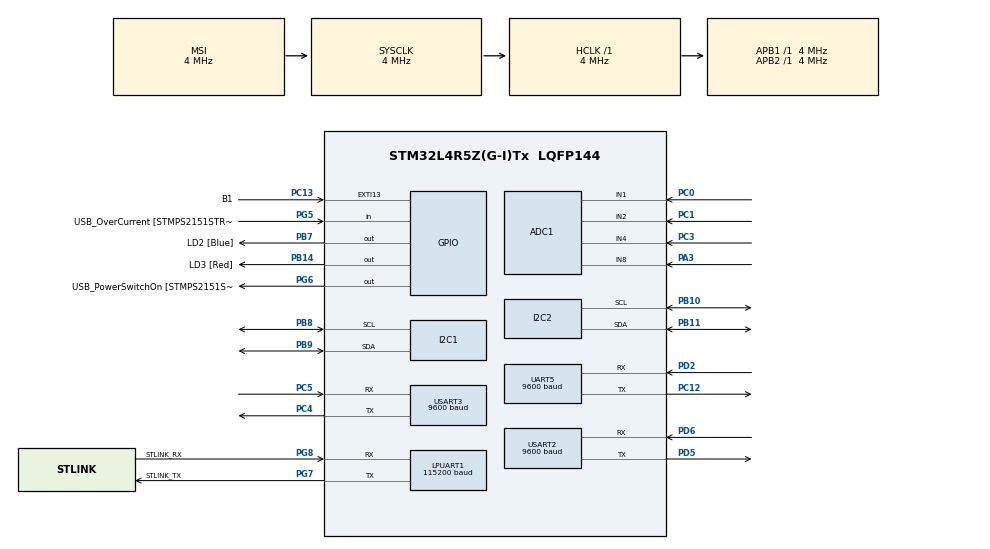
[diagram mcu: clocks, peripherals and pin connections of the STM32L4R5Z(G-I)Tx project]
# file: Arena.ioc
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ADC1.Channel-0\#ChannelRegularConversion=ADC_CHANNEL_1
ADC1.Channel-1\#ChannelRegularConversion=ADC_CHANNEL_8
ADC1.Channel-2\#ChannelRegularConversion=ADC_CHANNEL_2
ADC1.Channel-3\#ChannelRegularConversion=ADC_CHANNEL_4
ADC1.ClockPrescaler=ADC_CLOCK_ASYNC_DIV32
ADC1.ContinuousConvMode=DISABLE
ADC1.NbrOfConversion=4
ADC1.NbrOfConversionFlag=1
ADC1.OffsetNumber-0\#ChannelRegularConversion=ADC_OFFSET_NONE
ADC1.OffsetNumber-1\#ChannelRegularConversion=ADC_OFFSET_NONE
ADC1.OffsetNumber-2\#ChannelRegularConversion=ADC_OFFSET_NONE
ADC1.OffsetNumber-3\#ChannelRegularConversion=ADC_OFFSET_NONE
ADC1.Rank-0\#ChannelRegularConversion=1
ADC1.Rank-1\#ChannelRegularConversion=2
ADC1.Rank-2\#ChannelRegularConversion=3
ADC1.Rank-3\#ChannelRegularConversion=4
ADC1.SamplingTime-0\#ChannelRegularConversion=ADC_SAMPLETIME_640CYCLES_5
ADC1.SamplingTime-1\#ChannelRegularConversion=ADC_SAMPLETIME_640CYCLES_5
ADC1.SamplingTime-2\#ChannelRegularConversion=ADC_SAMPLETIME_640CYCLES_5
ADC1.SamplingTime-3\#ChannelRegularConversion=ADC_SAMPLETIME_640CYCLES_5
ADC1.master=1
I2C1.Timing=0x00100D14
I2C2.Timing=0x00100D14
LPUART1.BaudRate=115200
LPUART1.WordLength=UART_WORDLENGTH_8B
Mcu.Family=STM32L4
Mcu.Name=STM32L4R5Z(G-I)Tx
Mcu.Package=LQFP144
NVIC.PriorityGroup=NVIC_PRIORITYGROUP_4
PA10.GPIO_Label=USB_ID
PA10.Signal=USB_OTG_FS_ID
PA11.GPIO_Label=USB_DM
PA11.Signal=USB_OTG_FS_DM
PA12.GPIO_Label=USB_DP
PA12.Signal=USB_OTG_FS_DP
PA13\ (JTMS/SWDIO).GPIO_Label=TMS
PA13\ (JTMS/SWDIO).Mode=Trace_Asynchronous_SW
PA13\ (JTMS/SWDIO).Signal=SYS_JTMS-SWDIO
PA14\ (JTCK/SWCLK).GPIO_Label=TCK
PA14\ (JTCK/SWCLK).Mode=Trace_Asynchronous_SW
PA14\ (JTCK/SWCLK).Signal=SYS_JTCK-SWCLK
PA3.Signal=ADCx_IN8
PA8.GPIO_Label=USB_SOF [TP1]
PA8.Signal=USB_OTG_FS_SOF
PA9.GPIO_Label=USB_VBUS
PA9.Signal=USB_OTG_FS_VBUS
PB10.Mode=I2C
PB10.Signal=I2C2_SCL
PB11.Mode=I2C
PB11.Signal=I2C2_SDA
PB14.GPIO_Label=LD3 [Red]
PB14.Signal=GPIO_Output
PB3\ (JTDO/TRACESWO).GPIO_Label=SWO
PB3\ (JTDO/TRACESWO).Mode=Trace_Asynchronous_SW
PB3\ (JTDO/TRACESWO).Signal=SYS_JTDO-SWO
PB7.GPIO_Label=LD2 [Blue]
PB7.Signal=GPIO_Output
PB8.Mode=I2C
PB8.Signal=I2C1_SCL
PB9.Mode=I2C
PB9.Signal=I2C1_SDA
PC0.Signal=ADCx_IN1
PC1.Signal=ADCx_IN2
PC12.Mode=Asynchronous
PC12.Signal=UART5_TX
PC13.GPIO_Label=B1
PC13.Signal=GPXTI13
PC14-OSC32_IN\ (PC14).Mode=LSE-External-Oscillator
PC14-OSC32_IN\ (PC14).Signal=RCC_OSC32_IN
PC15-OSC32_OUT\ (PC15).Mode=LSE-External-Oscillator
PC15-OSC32_OUT\ (PC15).Signal=RCC_OSC32_OUT
PC3.Signal=ADCx_IN4
PC4.Mode=Asynchronous
PC4.Signal=USART3_TX
PC5.Mode=Asynchronous
PC5.Signal=USART3_RX
PD2.Mode=Asynchronous
PD2.Signal=UART5_RX
PD5.Mode=Asynchronous
PD5.Signal=USART2_TX
PD6.Mode=Asynchronous
PD6.Signal=USART2_RX
PG5.GPIO_Label=USB_OverCurrent [STMPS2151STR_FAULT]
PG5.Signal=GPIO_Input
PG6.GPIO_Label=USB_PowerSwitchOn [STMPS2151STR_En]
PG6.Signal=GPIO_Output
PG7.GPIO_Label=STLINK_TX
PG7.Mode=Asynchronous
PG7.Signal=LPUART1_TX
PG8.GPIO_Label=STLINK_RX
PG8.Mode=Asynchronous
PG8.Signal=LPUART1_RX
PH0-OSC_IN\ (PH0).Mode=HSE-External-Clock-Source
PH0-OSC_IN\ (PH0).Signal=RCC_OSC_IN
PH1-OSC_OUT\ (PH1).Signal=RCC_OSC_OUT
ProjectManager.HeapSize=0x200
ProjectManager.StackSize=0x400
ProjectManager.TargetToolchain=STM32CubeIDE
RCC.48MHZClocksFreq_Value=24000000
RCC.ADCFreq_Value=32000000
RCC.AHBFreq_Value=4000000
RCC.APB1Freq_Value=4000000
RCC.APB1TimFreq_Value=4000000
RCC.APB2Freq_Value=4000000
RCC.APB2TimFreq_Value=4000000
RCC.CortexFreq_Value=4000000
RCC.HCLKFreq_Value=4000000
RCC.HSE_VALUE=8000000
RCC.HSI48_VALUE=48000000
RCC.HSI_VALUE=16000000
RCC.MSI_VALUE=4000000
RCC.PLLMUL=RCC_PLL_MUL9
RCC.PLLSAI1N=16
RCC.PRESCALERUSB=RCC_USBCLKSOURCE_PLL_DIV1_5
RCC.SYSCLKFreq_VALUE=4000000
RCC.SYSCLKSourceVirtual=RCC_SYSCLKSOURCE_PLLCLK
RCC.USBFreq_Value=32000000
RCC.VCOOutputFreq_Value=32000000
SH.ADCx_IN1.0=ADC1_IN1,IN1-Single-Ended
SH.ADCx_IN2.0=ADC1_IN2,IN2-Single-Ended
SH.ADCx_IN4.0=ADC1_IN4,IN4-Single-Ended
SH.ADCx_IN8.0=ADC1_IN8,IN8-Single-Ended
UART5.BaudRate=9600
USART2.BaudRate=9600
USART2.VirtualMode-Asynchronous=VM_ASYNC
USART3.BaudRate=9600
USART3.VirtualMode-Asynchronous=VM_ASYNC
board=NUCLEO-L4R5ZI

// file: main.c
/* USER CODE BEGIN Header */
/**
  ******************************************************************************
  * @file           : main.c
  * @brief          : Main program body
  ******************************************************************************
  * @attention
  *
  * Copyright (c) 2025 STMicroelectronics.
  * All rights reserved.
  *
  * This software is licensed under terms that can be found in the LICENSE file
  * in the root directory of this software component.
  * If no LICENSE file comes with this software, it is provided AS-IS.
  *
  ******************************************************************************
  */
/* USER CODE END Header */
#include "main.h"

/* USER CODE BEGIN Includes */
#include <stdio.h>
#include <string.h>
/* USER CODE END Includes */

/* USER CODE BEGIN PD */
//#define DEBUG
// IMU Registers
#define SAD_M_R 0x3D
#define SAD_M_W 0x3C
#define SAD_A_R 0x32
#define SAD_A_W 0x33
// Flex ADC
#define ADC_MAX_VALUE 4095

// linear scaling test
#define RAW_MIN 80
#define RAW_MAX 100
#define SCALE_MIN 1
#define SCALE_MAX 100
/* USER CODE END PD */

ADC_HandleTypeDef hadc1;

I2C_HandleTypeDef hi2c1;
I2C_HandleTypeDef hi2c2;

UART_HandleTypeDef hlpuart1;
UART_HandleTypeDef huart5;
UART_HandleTypeDef huart2;
UART_HandleTypeDef huart3;

/* USER CODE BEGIN PV */
HAL_StatusTypeDef ret;
// IMU Vars
int bDir;
int16_t bRx, bRy, bRz;
int yDir;
int16_t yRx, yRy, yRz;
// Flex Vars
uint32_t bFlexRaw1, bFlexRaw2;
uint32_t yFlexRaw1, yFlexRaw2;
int bMag, bBoost;
uint32_t yFlexRaw;
int yMag, yBoost;
// Pixycam variables
uint8_t Pixy_receive;
//boost sensor variables
/* USER CODE END PV */

void SystemClock_Config(void);
static void MX_GPIO_Init(void);
static void MX_LPUART1_UART_Init(void);
static void MX_I2C1_Init(void);
static void MX_I2C2_Init(void);
static void MX_ADC1_Init(void);
static void MX_USART2_UART_Init(void);
static void MX_USART3_UART_Init(void);
static void MX_UART5_Init(void);

/* USER CODE BEGIN 0 */
void IMU_Init(void)
{
  uint8_t initData[10] = {0x0A};
  initData[0] = 0x20;
  initData[1] = 0x97;

  // BLUE
  ret = HAL_I2C_Master_Transmit(&hi2c1, SAD_A_W, &initData[0], 2, 1000);
  // YELLOW
  ret = HAL_I2C_Master_Transmit(&hi2c2, SAD_A_W, &initData[0], 2, 1000);
}

int IMU_Direction(int16_t x)
{
  if (x > 5000)
  {
	return 0; // left
  } else if (x < -5000)
  {
	return 1; // right
  } else
  {
	return 2; // straight
  }
}

void IMU_Read(void)
{
  // BLUE
  uint8_t bData[10] = {0x0A};
  bData[0] = 0xA8;
  ret = HAL_I2C_Master_Transmit(&hi2c1, SAD_A_W, &bData[0], 1, 1000);
  ret = HAL_I2C_Master_Receive(&hi2c1, SAD_A_R, &bData[0], 6, 1000);

  bRx = ((int16_t)(bData[1] << 8) + (int16_t)bData[0]);
  bRy = ((int16_t)(bData[3] << 8) + (int16_t)bData[2]);
  bRz = ((int16_t)(bData[5] << 8) + (int16_t)bData[4]);

  bDir = IMU_Direction(bRx);

  printf("x raw value: %d\n", bRx);
  printf("Direction: %d\n", bDir);

  // YELLOW
  uint8_t yData[10] = {0x0A};
  yData[0] = 0xA8;
  ret = HAL_I2C_Master_Transmit(&hi2c2, SAD_A_W, &yData[0], 1, 1000);
  ret = HAL_I2C_Master_Receive(&hi2c2, SAD_A_R, &yData[0], 6, 1000);

  yRx = ((int16_t)(yData[1] << 8) + (int16_t)yData[0]);
  yRy = ((int16_t)(yData[3] << 8) + (int16_t)yData[2]);
  yRz = ((int16_t)(yData[5] << 8) + (int16_t)yData[4]);

  yDir = IMU_Direction(yRx);

//  #ifdef DEBUG
 // printf("DEBUG: B D=%d X=%d  Y D=%d X=%d\r\n", bDir, bRx, yDir, yRx);
//  #endif
}

int Flex_Magnitude(uint32_t x)
{
	// fancy logic to get flex magnitude
	return 0;
}

void Flex_Read(void)
{

  // BLUE SPEED FLEX SENSOR
  HAL_ADC_Start(&hadc1);
  bFlexRaw1 = HAL_ADC_GetValue(&hadc1);
  bFlexRaw1 = ((bFlexRaw1 * 100) / ADC_MAX_VALUE);
  bMag = bFlexRaw1;
  printf("Blue speed: %d\n", bMag);
  HAL_Delay(50);

  // BLUE BOOST FLEX SENSOR
  HAL_ADC_Start(&hadc1);
  bFlexRaw2 = HAL_ADC_GetValue(&hadc1);
  bFlexRaw2 = ((bFlexRaw2 * 100) / ADC_MAX_VALUE);
  bBoost = bFlexRaw2;
  printf("Blue boost: %d\n", bBoost);
  HAL_Delay(50);

  // YELLOW SPEED FLEX SENSOR
  HAL_ADC_Start(&hadc1);
  yFlexRaw1 = HAL_ADC_GetValue(&hadc1);
  yFlexRaw1 = ((yFlexRaw1 * 100) / ADC_MAX_VALUE);
  yMag = yFlexRaw1;
  printf("Yellow speed: %d\n", yMag);
  HAL_Delay(50);

  // YELLOW BOOST FLEX SENSOR
  HAL_ADC_Start(&hadc1);
  yFlexRaw2 = HAL_ADC_GetValue(&hadc1);
  yFlexRaw2 = ((bFlexRaw2 * 100) / ADC_MAX_VALUE);
  yMag = bFlexRaw2;
  printf("Yellow boost: %d\n", yBoost);
  HAL_Delay(50);

  // TEST WITH SCALING
  if (bFlexRaw1 < RAW_MIN) bFlexRaw1 = RAW_MIN;
  if (bFlexRaw1 > RAW_MAX) bFlexRaw1 = RAW_MAX;

  bFlexRaw1 = ((bFlexRaw1 - RAW_MIN) * (SCALE_MAX - SCALE_MIN)) / (RAW_MAX - RAW_MIN) + SCALE_MIN;

  // TODO CALIBRATE FOR THIS SETUP

  //printf("Blue speed: %d\n", bMag);

//  #ifdef DEBUG
//  #endif
}

/*void readAverage(void){
	double sumB = 0;
	for(int i = 0; i < 5; i++){
		sumB += Flex_Read();
	}
	sumB /= 5;
	int truncate = (int)sumB;
	truncate -= 42;
	bMag = truncate;
	printf("DEBUG B F=%d Y F=%d\r\n", truncate, yFlexRaw);
}*/
void Pixy_read(void){
	if (HAL_UART_Receive(&huart5, &Pixy_receive, 1, 500) == HAL_OK){
		uint8_t value = Pixy_receive & 0x03;
			if (value == 1){
				bDir = 3;
			}
			else if (value == 2){
				yDir = 3;
			}
	}
}
void boostSensor(void){
	if (bBoost == 1){
		bMag += 10;
	}
	if (yBoost == 1){
		yMag += 10;
	}
}
/* USER CODE END 0 */

int main(void)
{

  /* MCU Configuration--------------------------------------------------------*/

  /* Reset of all peripherals, Initializes the Flash interface and the Systick. */
  HAL_Init();

  /* Configure the system clock */
  SystemClock_Config();

  /* Initialize all configured peripherals */
  MX_GPIO_Init();
  MX_LPUART1_UART_Init();
  MX_I2C1_Init();
  MX_I2C2_Init();
  MX_ADC1_Init();
  MX_USART2_UART_Init();
  MX_USART3_UART_Init();
  MX_UART5_Init();
  /* USER CODE BEGIN 2 */
  IMU_Init();
  // HAL_ADC_Start(&hadc1);

  /* USER CODE END 2 */

  /* Infinite loop */
  /* USER CODE BEGIN WHILE */
  while (1)
  {
	  IMU_Read();
	  //readAverage();
	  Flex_Read();
	  Pixy_read();

	char txBuf[20];
	 //bDir = 3;
	 //bMag = 25;
	 //bKick = 0;

	 //printf("DEBUG B F=%d Y F=%d\r\n", bFlexRaw, yFlexRaw);

	sprintf(txBuf, "%d,%d,%d\r\n", bDir, bMag, bBoost);

	HAL_UART_Transmit(&huart3, (uint8_t*)txBuf, strlen(txBuf), 100);
	HAL_Delay(250);
    /* USER CODE END WHILE */

  }
}

void SystemClock_Config(void)
{
  RCC_OscInitTypeDef RCC_OscInitStruct = {0};
  RCC_ClkInitTypeDef RCC_ClkInitStruct = {0};

  /** Configure the main internal regulator output voltage
  */
  if (HAL_PWREx_ControlVoltageScaling(PWR_REGULATOR_VOLTAGE_SCALE1) != HAL_OK)
  {
    Error_Handler();
  }

  /** Initializes the RCC Oscillators according to the specified parameters
  * in the RCC_OscInitTypeDef structure.
  */
  RCC_OscInitStruct.OscillatorType = RCC_OSCILLATORTYPE_MSI;
  RCC_OscInitStruct.MSIState = RCC_MSI_ON;
  RCC_OscInitStruct.MSICalibrationValue = 0;
  RCC_OscInitStruct.MSIClockRange = RCC_MSIRANGE_6;
  RCC_OscInitStruct.PLL.PLLState = RCC_PLL_NONE;
  if (HAL_RCC_OscConfig(&RCC_OscInitStruct) != HAL_OK)
  {
    Error_Handler();
  }

  /** Initializes the CPU, AHB and APB buses clocks
  */
  RCC_ClkInitStruct.ClockType = RCC_CLOCKTYPE_HCLK|RCC_CLOCKTYPE_SYSCLK
                              |RCC_CLOCKTYPE_PCLK1|RCC_CLOCKTYPE_PCLK2;
  RCC_ClkInitStruct.SYSCLKSource = RCC_SYSCLKSOURCE_MSI;
  RCC_ClkInitStruct.AHBCLKDivider = RCC_SYSCLK_DIV1;
  RCC_ClkInitStruct.APB1CLKDivider = RCC_HCLK_DIV1;
  RCC_ClkInitStruct.APB2CLKDivider = RCC_HCLK_DIV1;

  if (HAL_RCC_ClockConfig(&RCC_ClkInitStruct, FLASH_LATENCY_0) != HAL_OK)
  {
    Error_Handler();
  }
}

static void MX_ADC1_Init(void)
{

  ADC_ChannelConfTypeDef sConfig = {0};

  /** Common config
  */
  hadc1.Instance = ADC1;
  hadc1.Init.ClockPrescaler = ADC_CLOCK_ASYNC_DIV32;
  hadc1.Init.Resolution = ADC_RESOLUTION_12B;
  hadc1.Init.DataAlign = ADC_DATAALIGN_RIGHT;
  hadc1.Init.ScanConvMode = ADC_SCAN_ENABLE;
  hadc1.Init.EOCSelection = ADC_EOC_SINGLE_CONV;
  hadc1.Init.LowPowerAutoWait = DISABLE;
  hadc1.Init.ContinuousConvMode = DISABLE;
  hadc1.Init.NbrOfConversion = 4;
  hadc1.Init.DiscontinuousConvMode = DISABLE;
  hadc1.Init.ExternalTrigConv = ADC_SOFTWARE_START;
  hadc1.Init.ExternalTrigConvEdge = ADC_EXTERNALTRIGCONVEDGE_NONE;
  hadc1.Init.DMAContinuousRequests = DISABLE;
  hadc1.Init.Overrun = ADC_OVR_DATA_PRESERVED;
  hadc1.Init.OversamplingMode = DISABLE;
  if (HAL_ADC_Init(&hadc1) != HAL_OK)
  {
    Error_Handler();
  }

  /** Configure Regular Channel
  */
  sConfig.Channel = ADC_CHANNEL_1;
  sConfig.Rank = ADC_REGULAR_RANK_1;
  sConfig.SamplingTime = ADC_SAMPLETIME_640CYCLES_5;
  sConfig.SingleDiff = ADC_SINGLE_ENDED;
  sConfig.OffsetNumber = ADC_OFFSET_NONE;
  sConfig.Offset = 0;
  if (HAL_ADC_ConfigChannel(&hadc1, &sConfig) != HAL_OK)
  {
    Error_Handler();
  }

  /** Configure Regular Channel
  */
  sConfig.Channel = ADC_CHANNEL_8;
  sConfig.Rank = ADC_REGULAR_RANK_2;
  if (HAL_ADC_ConfigChannel(&hadc1, &sConfig) != HAL_OK)
  {
    Error_Handler();
  }

  /** Configure Regular Channel
  */
  sConfig.Channel = ADC_CHANNEL_2;
  sConfig.Rank = ADC_REGULAR_RANK_3;
  if (HAL_ADC_ConfigChannel(&hadc1, &sConfig) != HAL_OK)
  {
    Error_Handler();
  }

  /** Configure Regular Channel
  */
  sConfig.Channel = ADC_CHANNEL_4;
  sConfig.Rank = ADC_REGULAR_RANK_4;
  if (HAL_ADC_ConfigChannel(&hadc1, &sConfig) != HAL_OK)
  {
    Error_Handler();
  }

}

static void MX_I2C1_Init(void)
{

  hi2c1.Instance = I2C1;
  hi2c1.Init.Timing = 0x00100D14;
  hi2c1.Init.OwnAddress1 = 0;
  hi2c1.Init.AddressingMode = I2C_ADDRESSINGMODE_7BIT;
  hi2c1.Init.DualAddressMode = I2C_DUALADDRESS_DISABLE;
  hi2c1.Init.OwnAddress2 = 0;
  hi2c1.Init.OwnAddress2Masks = I2C_OA2_NOMASK;
  hi2c1.Init.GeneralCallMode = I2C_GENERALCALL_DISABLE;
  hi2c1.Init.NoStretchMode = I2C_NOSTRETCH_DISABLE;
  if (HAL_I2C_Init(&hi2c1) != HAL_OK)
  {
    Error_Handler();
  }

  /** Configure Analogue filter
  */
  if (HAL_I2CEx_ConfigAnalogFilter(&hi2c1, I2C_ANALOGFILTER_ENABLE) != HAL_OK)
  {
    Error_Handler();
  }

  /** Configure Digital filter
  */
  if (HAL_I2CEx_ConfigDigitalFilter(&hi2c1, 0) != HAL_OK)
  {
    Error_Handler();
  }

}

static void MX_I2C2_Init(void)
{

  hi2c2.Instance = I2C2;
  hi2c2.Init.Timing = 0x00100D14;
  hi2c2.Init.OwnAddress1 = 0;
  hi2c2.Init.AddressingMode = I2C_ADDRESSINGMODE_7BIT;
  hi2c2.Init.DualAddressMode = I2C_DUALADDRESS_DISABLE;
  hi2c2.Init.OwnAddress2 = 0;
  hi2c2.Init.OwnAddress2Masks = I2C_OA2_NOMASK;
  hi2c2.Init.GeneralCallMode = I2C_GENERALCALL_DISABLE;
  hi2c2.Init.NoStretchMode = I2C_NOSTRETCH_DISABLE;
  if (HAL_I2C_Init(&hi2c2) != HAL_OK)
  {
    Error_Handler();
  }

  /** Configure Analogue filter
  */
  if (HAL_I2CEx_ConfigAnalogFilter(&hi2c2, I2C_ANALOGFILTER_ENABLE) != HAL_OK)
  {
    Error_Handler();
  }

  /** Configure Digital filter
  */
  if (HAL_I2CEx_ConfigDigitalFilter(&hi2c2, 0) != HAL_OK)
  {
    Error_Handler();
  }

}

static void MX_LPUART1_UART_Init(void)
{

  hlpuart1.Instance = LPUART1;
  hlpuart1.Init.BaudRate = 115200;
  hlpuart1.Init.WordLength = UART_WORDLENGTH_8B;
  hlpuart1.Init.StopBits = UART_STOPBITS_1;
  hlpuart1.Init.Parity = UART_PARITY_NONE;
  hlpuart1.Init.Mode = UART_MODE_TX_RX;
  hlpuart1.Init.HwFlowCtl = UART_HWCONTROL_NONE;
  hlpuart1.Init.OneBitSampling = UART_ONE_BIT_SAMPLE_DISABLE;
  hlpuart1.Init.ClockPrescaler = UART_PRESCALER_DIV1;
  hlpuart1.AdvancedInit.AdvFeatureInit = UART_ADVFEATURE_NO_INIT;
  hlpuart1.FifoMode = UART_FIFOMODE_DISABLE;
  if (HAL_UART_Init(&hlpuart1) != HAL_OK)
  {
    Error_Handler();
  }
  if (HAL_UARTEx_SetTxFifoThreshold(&hlpuart1, UART_TXFIFO_THRESHOLD_1_8) != HAL_OK)
  {
    Error_Handler();
  }
  if (HAL_UARTEx_SetRxFifoThreshold(&hlpuart1, UART_RXFIFO_THRESHOLD_1_8) != HAL_OK)
  {
    Error_Handler();
  }
  if (HAL_UARTEx_DisableFifoMode(&hlpuart1) != HAL_OK)
  {
    Error_Handler();
  }

}

static void MX_UART5_Init(void)
{

  huart5.Instance = UART5;
  huart5.Init.BaudRate = 9600;
  huart5.Init.WordLength = UART_WORDLENGTH_8B;
  huart5.Init.StopBits = UART_STOPBITS_1;
  huart5.Init.Parity = UART_PARITY_NONE;
  huart5.Init.Mode = UART_MODE_TX_RX;
  huart5.Init.HwFlowCtl = UART_HWCONTROL_NONE;
  huart5.Init.OverSampling = UART_OVERSAMPLING_16;
  huart5.Init.OneBitSampling = UART_ONE_BIT_SAMPLE_DISABLE;
  huart5.Init.ClockPrescaler = UART_PRESCALER_DIV1;
  huart5.AdvancedInit.AdvFeatureInit = UART_ADVFEATURE_NO_INIT;
  if (HAL_UART_Init(&huart5) != HAL_OK)
  {
    Error_Handler();
  }
  if (HAL_UARTEx_SetTxFifoThreshold(&huart5, UART_TXFIFO_THRESHOLD_1_8) != HAL_OK)
  {
    Error_Handler();
  }
  if (HAL_UARTEx_SetRxFifoThreshold(&huart5, UART_RXFIFO_THRESHOLD_1_8) != HAL_OK)
  {
    Error_Handler();
  }
  if (HAL_UARTEx_DisableFifoMode(&huart5) != HAL_OK)
  {
    Error_Handler();
  }

}

static void MX_USART2_UART_Init(void)
{

  huart2.Instance = USART2;
  huart2.Init.BaudRate = 9600;
  huart2.Init.WordLength = UART_WORDLENGTH_8B;
  huart2.Init.StopBits = UART_STOPBITS_1;
  huart2.Init.Parity = UART_PARITY_NONE;
  huart2.Init.Mode = UART_MODE_TX_RX;
  huart2.Init.HwFlowCtl = UART_HWCONTROL_NONE;
  huart2.Init.OverSampling = UART_OVERSAMPLING_16;
  huart2.Init.OneBitSampling = UART_ONE_BIT_SAMPLE_DISABLE;
  huart2.Init.ClockPrescaler = UART_PRESCALER_DIV1;
  huart2.AdvancedInit.AdvFeatureInit = UART_ADVFEATURE_NO_INIT;
  if (HAL_UART_Init(&huart2) != HAL_OK)
  {
    Error_Handler();
  }
  if (HAL_UARTEx_SetTxFifoThreshold(&huart2, UART_TXFIFO_THRESHOLD_1_8) != HAL_OK)
  {
    Error_Handler();
  }
  if (HAL_UARTEx_SetRxFifoThreshold(&huart2, UART_RXFIFO_THRESHOLD_1_8) != HAL_OK)
  {
    Error_Handler();
  }
  if (HAL_UARTEx_DisableFifoMode(&huart2) != HAL_OK)
  {
    Error_Handler();
  }

}

static void MX_USART3_UART_Init(void)
{

  huart3.Instance = USART3;
  huart3.Init.BaudRate = 9600;
  huart3.Init.WordLength = UART_WORDLENGTH_8B;
  huart3.Init.StopBits = UART_STOPBITS_1;
  huart3.Init.Parity = UART_PARITY_NONE;
  huart3.Init.Mode = UART_MODE_TX_RX;
  huart3.Init.HwFlowCtl = UART_HWCONTROL_NONE;
  huart3.Init.OverSampling = UART_OVERSAMPLING_16;
  huart3.Init.OneBitSampling = UART_ONE_BIT_SAMPLE_DISABLE;
  huart3.Init.ClockPrescaler = UART_PRESCALER_DIV1;
  huart3.AdvancedInit.AdvFeatureInit = UART_ADVFEATURE_NO_INIT;
  if (HAL_UART_Init(&huart3) != HAL_OK)
  {
    Error_Handler();
  }
  if (HAL_UARTEx_SetTxFifoThreshold(&huart3, UART_TXFIFO_THRESHOLD_1_8) != HAL_OK)
  {
    Error_Handler();
  }
  if (HAL_UARTEx_SetRxFifoThreshold(&huart3, UART_RXFIFO_THRESHOLD_1_8) != HAL_OK)
  {
    Error_Handler();
  }
  if (HAL_UARTEx_DisableFifoMode(&huart3) != HAL_OK)
  {
    Error_Handler();
  }

}

static void MX_GPIO_Init(void)
{
  GPIO_InitTypeDef GPIO_InitStruct = {0};

  /* GPIO Ports Clock Enable */
  __HAL_RCC_GPIOC_CLK_ENABLE();
  __HAL_RCC_GPIOH_CLK_ENABLE();
  __HAL_RCC_GPIOA_CLK_ENABLE();
  __HAL_RCC_GPIOB_CLK_ENABLE();
  __HAL_RCC_GPIOG_CLK_ENABLE();
  HAL_PWREx_EnableVddIO2();
  __HAL_RCC_GPIOD_CLK_ENABLE();

  /*Configure GPIO pin Output Level */
  HAL_GPIO_WritePin(GPIOB, LD3_Pin|LD2_Pin, GPIO_PIN_RESET);

  /*Configure GPIO pin Output Level */
  HAL_GPIO_WritePin(USB_PowerSwitchOn_GPIO_Port, USB_PowerSwitchOn_Pin, GPIO_PIN_RESET);

  /*Configure GPIO pin : B1_Pin */
  GPIO_InitStruct.Pin = B1_Pin;
  GPIO_InitStruct.Mode = GPIO_MODE_IT_RISING;
  GPIO_InitStruct.Pull = GPIO_NOPULL;
  HAL_GPIO_Init(B1_GPIO_Port, &GPIO_InitStruct);

  /*Configure GPIO pins : LD3_Pin LD2_Pin */
  GPIO_InitStruct.Pin = LD3_Pin|LD2_Pin;
  GPIO_InitStruct.Mode = GPIO_MODE_OUTPUT_PP;
  GPIO_InitStruct.Pull = GPIO_NOPULL;
  GPIO_InitStruct.Speed = GPIO_SPEED_FREQ_LOW;
  HAL_GPIO_Init(GPIOB, &GPIO_InitStruct);

  /*Configure GPIO pin : USB_OverCurrent_Pin */
  GPIO_InitStruct.Pin = USB_OverCurrent_Pin;
  GPIO_InitStruct.Mode = GPIO_MODE_INPUT;
  GPIO_InitStruct.Pull = GPIO_NOPULL;
  HAL_GPIO_Init(USB_OverCurrent_GPIO_Port, &GPIO_InitStruct);

  /*Configure GPIO pin : USB_PowerSwitchOn_Pin */
  GPIO_InitStruct.Pin = USB_PowerSwitchOn_Pin;
  GPIO_InitStruct.Mode = GPIO_MODE_OUTPUT_PP;
  GPIO_InitStruct.Pull = GPIO_NOPULL;
  GPIO_InitStruct.Speed = GPIO_SPEED_FREQ_LOW;
  HAL_GPIO_Init(USB_PowerSwitchOn_GPIO_Port, &GPIO_InitStruct);

  /*Configure GPIO pins : USB_SOF_Pin USB_ID_Pin USB_DM_Pin USB_DP_Pin */
  GPIO_InitStruct.Pin = USB_SOF_Pin|USB_ID_Pin|USB_DM_Pin|USB_DP_Pin;
  GPIO_InitStruct.Mode = GPIO_MODE_AF_PP;
  GPIO_InitStruct.Pull = GPIO_NOPULL;
  GPIO_InitStruct.Speed = GPIO_SPEED_FREQ_VERY_HIGH;
  GPIO_InitStruct.Alternate = GPIO_AF10_OTG_FS;
  HAL_GPIO_Init(GPIOA, &GPIO_InitStruct);

  /*Configure GPIO pin : USB_VBUS_Pin */
  GPIO_InitStruct.Pin = USB_VBUS_Pin;
  GPIO_InitStruct.Mode = GPIO_MODE_INPUT;
  GPIO_InitStruct.Pull = GPIO_NOPULL;
  HAL_GPIO_Init(USB_VBUS_GPIO_Port, &GPIO_InitStruct);

}

/* USER CODE BEGIN 4 */
#ifdef __GNUC__
#define PUTCHAR_PROTOTYPE int __io_putchar(int ch)
#else
  #define PUTCHAR_PROTOTYPE int fputc(int ch, FILE *f)
#endif /* __GNUC__ */
PUTCHAR_PROTOTYPE
{
  HAL_UART_Transmit(&hlpuart1, (uint8_t *)&ch, 1, 0xFFFF);
  return ch;
}
/* USER CODE END 4 */

void Error_Handler(void)
{
  __disable_irq();
  while (1)
  {
  }
}
